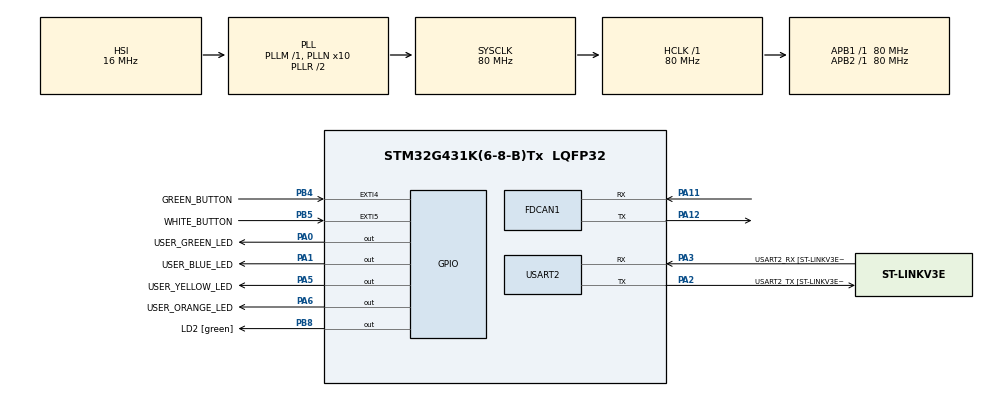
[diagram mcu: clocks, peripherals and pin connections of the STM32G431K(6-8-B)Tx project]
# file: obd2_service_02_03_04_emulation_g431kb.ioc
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FDCAN1.AutoRetransmission=ENABLE
FDCAN1.CalculateBaudRateNominal=250000
FDCAN1.CalculateTimeBitNominal=4000
FDCAN1.CalculateTimeQuantumNominal=250.0
FDCAN1.DataPrescaler=20
FDCAN1.DataSyncJumpWidth=3
FDCAN1.DataTimeSeg1=12
FDCAN1.DataTimeSeg2=3
FDCAN1.NominalPrescaler=20
FDCAN1.NominalSyncJumpWidth=3
FDCAN1.NominalTimeSeg1=12
FDCAN1.NominalTimeSeg2=3
FDCAN1.StdFiltersNbr=2
Mcu.Family=STM32G4
Mcu.Name=STM32G431K(6-8-B)Tx
Mcu.Package=LQFP32
NVIC.EXTI4_IRQn=true\:0\:0\:false\:false\:true\:true\:true\:true
NVIC.EXTI9_5_IRQn=true\:0\:0\:false\:false\:true\:true\:true\:true
NVIC.FDCAN1_IT0_IRQn=true\:0\:0\:false\:false\:true\:true\:true\:true
NVIC.PriorityGroup=NVIC_PRIORITYGROUP_4
PA0.GPIO_Label=USER_GREEN_LED
PA0.Signal=GPIO_Output
PA1.GPIO_Label=USER_BLUE_LED
PA1.Signal=GPIO_Output
PA11.Mode=FDCAN_Activate
PA11.Signal=FDCAN1_RX
PA12.Mode=FDCAN_Activate
PA12.Signal=FDCAN1_TX
PA13.GPIO_Label=T_SWDIO
PA13.Mode=Serial_Wire
PA13.Signal=SYS_JTMS-SWDIO
PA14.GPIO_Label=T_SWCLK
PA14.Mode=Serial_Wire
PA14.Signal=SYS_JTCK-SWCLK
PA2.GPIO_Label=USART2_TX [ST-LINKV3E_VCP_RX]
PA2.Mode=Asynchronous
PA2.Signal=USART2_TX
PA3.GPIO_Label=USART2_RX [ST-LINKV3E_VCP_TX]
PA3.Mode=Asynchronous
PA3.Signal=USART2_RX
PA5.GPIO_Label=USER_YELLOW_LED
PA5.Signal=GPIO_Output
PA6.GPIO_Label=USER_ORANGE_LED
PA6.Signal=GPIO_Output
PB3.GPIO_Label=T_SWO
PB3.Signal=SYS_JTDO-SWO
PB4.GPIO_Label=GREEN_BUTTON
PB4.GPIO_ModeDefaultEXTI=GPIO_MODE_IT_FALLING
PB4.GPIO_PuPd=GPIO_PULLUP
PB4.Signal=GPXTI4
PB5.GPIO_Label=WHITE_BUTTON
PB5.GPIO_ModeDefaultEXTI=GPIO_MODE_IT_FALLING
PB5.GPIO_PuPd=GPIO_PULLUP
PB5.Signal=GPXTI5
PB8-BOOT0.GPIO_Label=LD2 [green]
PB8-BOOT0.Signal=GPIO_Output
ProjectManager.HeapSize=0x200
ProjectManager.StackSize=0x400
ProjectManager.TargetToolchain=STM32CubeIDE
RCC.ADC12Freq_Value=80000000
RCC.AHBFreq_Value=80000000
RCC.APB1Freq_Value=80000000
RCC.APB1TimFreq_Value=80000000
RCC.APB2Freq_Value=80000000
RCC.APB2TimFreq_Value=80000000
RCC.CortexFreq_Value=80000000
RCC.EXTERNAL_CLOCK_VALUE=12288000
RCC.HCLKFreq_Value=80000000
RCC.HSE_VALUE=8000000
RCC.HSI48_VALUE=48000000
RCC.HSI_VALUE=16000000
RCC.LSE_VALUE=32768
RCC.PLLN=10
RCC.SYSCLKFreq_VALUE=80000000
RCC.SYSCLKSource=RCC_SYSCLKSOURCE_PLLCLK
RCC.USBFreq_Value=80000000
RCC.VCOOutputFreq_Value=160000000
USART2.VirtualMode-Asynchronous=VM_ASYNC
USART2.WordLength=WORDLENGTH_8B
VP_SYS_VS_DBSignals.Mode=DisableDeadBatterySignals
board=NUCLEO-G431KB

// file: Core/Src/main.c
/* USER CODE BEGIN Header */
/**
 ******************************************************************************
 * @file           : main.c
 * @brief          : Main program body
 ******************************************************************************
 * @attention
 *
 * Copyright (c) 2025 STMicroelectronics.
 * All rights reserved.
 *
 * This software is licensed under terms that can be found in the LICENSE file
 * in the root directory of this software component.
 * If no LICENSE file comes with this software, it is provided AS-IS.
 *
 ******************************************************************************
 */
/* USER CODE END Header */
#include "main.h"
#include "fdcan.h"
#include "usart.h"
#include "gpio.h"

/* USER CODE BEGIN Includes */
#include "string.h"
/* USER CODE END Includes */

/* USER CODE BEGIN PD */
#define RPM 6666.0f
#define MAF 66.66f
#define ECT 66.0f
#define RPM_FREEZE 7777.0f
#define MAF_FREEZE 77.77f
#define ECT_FREEZE 77.0f
/* USER CODE END PD */

/* USER CODE BEGIN PV */
FDCAN_RxHeaderTypeDef rxHeader;
uint8_t rxData[8];
uint8_t canDatacheck = 0;

FDCAN_TxHeaderTypeDef txHeader;
uint8_t txData[8];

uint8_t pids_supported_01_20_service_01[8] =
{ 0x06, 0x41, 0x00, 0xC8, 0x11, 0x00, 0x00, 0xAA }; // Monitor status, DTC that caused freeze frame, ECT, RPM, MAF

// https://x-engineer.org/obd-diagnostic-service-mode-02-request-powertrain-freeze-frame-data/
uint8_t pids_supported_01_20_service_02[8] =
{ 0x07, 0x42, 0x00, 0x00, 0x48, 0x11, 0x00, 0x00 }; // DTC that caused freeze frame, ECT, RPM, MAF

uint32_t frame_separation_time = 0;

uint8_t malfunction_indicator_light = 1;

float rpm = RPM;
float ect = ECT;
float maf = MAF;
float rpm_freeze = RPM_FREEZE;
float ect_freeze = ECT_FREEZE;
float maf_freeze = MAF_FREEZE;
/* USER CODE END PV */

void SystemClock_Config(void);
/* USER CODE BEGIN PFP */
void SendCanFrame(void);
void Dec2HexTwoBytes(uint16_t dec_value, uint8_t *msb_value, uint8_t *lsb_value);
/* USER CODE END PFP */

int main(void)
{

  /* MCU Configuration--------------------------------------------------------*/

  /* Reset of all peripherals, Initializes the Flash interface and the Systick. */
  HAL_Init();

  /* Configure the system clock */
  SystemClock_Config();

  /* Initialize all configured peripherals */
  MX_GPIO_Init();
  MX_USART2_UART_Init();
  MX_FDCAN1_Init();
  /* USER CODE BEGIN 2 */
	if (HAL_FDCAN_Start(&hfdcan1) != HAL_OK)
	{
		Error_Handler();
	}

	if (HAL_FDCAN_ActivateNotification(&hfdcan1, FDCAN_IT_RX_FIFO0_NEW_MESSAGE,
			0) != HAL_OK)
	{
		Error_Handler();
	}

	txHeader.IdType = FDCAN_STANDARD_ID;
	txHeader.TxFrameType = FDCAN_DATA_FRAME;
	txHeader.DataLength = FDCAN_DLC_BYTES_8;
	txHeader.ErrorStateIndicator = FDCAN_ESI_ACTIVE;
	txHeader.BitRateSwitch = FDCAN_BRS_OFF;
	txHeader.FDFormat = FDCAN_CLASSIC_CAN;
	txHeader.TxEventFifoControl = FDCAN_NO_TX_EVENTS;
  /* USER CODE END 2 */

  /* Infinite loop */
  /* USER CODE BEGIN WHILE */
	while (1)
	{

		if (canDatacheck == 1)
		{
			canDatacheck = 0;
			/************************************************************************
			 *							Service 01									*
			 ************************************************************************/
			// Service 01 supported PIDs
			if ((rxHeader.Identifier == 0x7DF) && (rxData[0] == 0x02)
					&& (rxData[1] == 0x01) && (rxData[2] == 0x00))
			{
				txHeader.Identifier = 0x7E8;
				memcpy(txData, pids_supported_01_20_service_01, 8);
				SendCanFrame();
				HAL_GPIO_TogglePin(USER_BLUE_LED_GPIO_Port, USER_BLUE_LED_Pin);
			}
			// Service 01 PID 0x01: Monitor status since DTCs cleared
			else if ((rxHeader.Identifier == 0x7DF) && (rxData[0] == 0x02)
					&& (rxData[1] == 0x01) && (rxData[2] == 0x01))
			{
				txHeader.Identifier = 0x7E8;
				txData[0] = 0x06;
				txData[1] = 0x41;
				txData[2] = 0x01;
				txData[3] = 0x84; // MIL on, 4 DTCs
				txData[4] = 0x08; // Engine type: compression ignition (e.g. Diesel engines)
				txData[5] = 0x00;
				txData[6] = 0x00;
				txData[7] = 0xAA; // padding bytes
				SendCanFrame();
				HAL_GPIO_TogglePin(USER_GREEN_LED_GPIO_Port,
				USER_GREEN_LED_Pin);
			}
			// Service 01 PID 0x02: DTC that caused freeze frame to be stored
			else if ((rxHeader.Identifier == 0x7DF) && (rxData[0] == 0x02)
					&& (rxData[1] == 0x01) && (rxData[2] == 0x02))
			{
				txHeader.Identifier = 0x7E8;
				txData[0] = 0x04;
				txData[1] = 0x41;
				txData[2] = 0x02;
				txData[3] = 0x00 | 0x01;
				txData[4] = 0x13;
				txData[5] = 0xAA; // padding bytes
				txData[6] = 0xAA;
				txData[7] = 0xAA;
				SendCanFrame();
				HAL_GPIO_TogglePin(USER_GREEN_LED_GPIO_Port,
				USER_GREEN_LED_Pin);
			}
			// Service 01: stream RPM
			else if ((rxHeader.Identifier == 0x7DF) && (rxData[0] == 0x02)
					&& (rxData[1] == 0x01) && (rxData[2] == 0x0C))
			{
				txHeader.Identifier = 0x7E8;
				txData[0] = 0x04;
				txData[1] = 0x41;
				txData[2] = 0x0C;
				Dec2HexTwoBytes((uint16_t) (rpm * 4.0f), &txData[3],
						&txData[4]);
				txData[5] = 0xAA;
				txData[6] = 0xAA;
				txData[7] = 0xAA;
				SendCanFrame();
				HAL_GPIO_TogglePin(USER_YELLOW_LED_GPIO_Port,
				USER_YELLOW_LED_Pin);
			}
			// Service 01: stream ECT
			else if ((rxHeader.Identifier == 0x7DF) && (rxData[0] == 0x02)
					&& (rxData[1] == 0x01) && (rxData[2] == 0x05))
			{
				txHeader.Identifier = 0x7E8;
				txData[0] = 0x03;
				txData[1] = 0x41;
				txData[2] = 0x05;
				txData[3] = (uint8_t) (ect + 40);
				txData[4] = 0xAA;
				txData[5] = 0xAA;
				txData[6] = 0xAA;
				txData[7] = 0xAA;
				SendCanFrame();
				HAL_GPIO_TogglePin(USER_YELLOW_LED_GPIO_Port,
				USER_YELLOW_LED_Pin);
			}
			// Service 01: stream MAF
			else if ((rxHeader.Identifier == 0x7DF) && (rxData[0] == 0x02)
					&& (rxData[1] == 0x01) && (rxData[2] == 0x10))
			{
				txHeader.Identifier = 0x7E8;
				txData[0] = 0x04;
				txData[1] = 0x41;
				txData[2] = 0x10;
				Dec2HexTwoBytes((uint16_t) (maf * 100.0f), &txData[3],
						&txData[4]);
				txData[5] = 0xAA;
				txData[6] = 0xAA;
				txData[7] = 0xAA;
				SendCanFrame();
				HAL_GPIO_TogglePin(USER_YELLOW_LED_GPIO_Port,
				USER_YELLOW_LED_Pin);
			}
			/************************************************************************
			 *							Service 02									*
			 ************************************************************************/
			// DTC that caused freeze frame 0x00 to be stored
			else if ((rxHeader.Identifier == 0x7DF) && (rxData[0] == 0x03)
					&& (rxData[1] == 0x02) && (rxData[2] == 0x02)
					&& (rxData[3] == 0x00))
			{
				txHeader.Identifier = 0x7E8;
				txData[0] = 0x05;
				txData[1] = 0x42;
				txData[2] = 0x02;
				txData[3] = 0x00;
				txData[4] = 0x00 | 0x00;
				txData[5] = 0xB7; // P00B7
				txData[6] = 0xAA; // padding bytes
				txData[7] = 0xAA;
				SendCanFrame();
				HAL_GPIO_TogglePin(USER_GREEN_LED_GPIO_Port,
				USER_GREEN_LED_Pin);
			}
			// Service 02 supported PIDs in freeze frame 0x00
			else if ((rxHeader.Identifier == 0x7DF) && (rxData[0] == 0x03)
					&& (rxData[1] == 0x02) && (rxData[2] == 0x00)
					&& (rxData[3] == 0x00)) // Freeze PIDs list
			{
				txHeader.Identifier = 0x7E8;
				memcpy(txData, pids_supported_01_20_service_02, 8);
				SendCanFrame();
				HAL_GPIO_TogglePin(USER_ORANGE_LED_GPIO_Port,
				USER_ORANGE_LED_Pin);
			}
			// Freeze RPM
			else if ((rxHeader.Identifier == 0x7DF) && (rxData[0] == 0x03)
					&& (rxData[1] == 0x02) && (rxData[2] == 0x0C /* PID */)
					&& (rxData[3] == 0x00 /* frame */))
			{
				txHeader.Identifier = 0x7E8;
				txData[0] = 0x05;
				txData[1] = 0x42;
				txData[2] = 0x0C; // PID
				txData[3] = 0x00; // frame
				Dec2HexTwoBytes((uint16_t) (rpm_freeze * 4.0f), &txData[4],
						&txData[5]);
				txData[6] = 0xAA;
				txData[7] = 0xAA;
				SendCanFrame();
				HAL_GPIO_TogglePin(USER_GREEN_LED_GPIO_Port,
				USER_GREEN_LED_Pin);
			}
			// Freeze ECT
			else if ((rxHeader.Identifier == 0x7DF) && (rxData[0] == 0x03)
					&& (rxData[1] == 0x02) && (rxData[2] == 0x05)
					&& (rxData[3] == 0x00))
			{
				txHeader.Identifier = 0x7E8;
				txData[0] = 0x04;
				txData[1] = 0x42;
				txData[2] = 0x05;
				txData[3] = 0x00;
				txData[4] = (uint8_t) (ect_freeze + 40);
				txData[5] = 0xAA;
				txData[6] = 0xAA;
				txData[7] = 0xAA;
				SendCanFrame();
				HAL_GPIO_TogglePin(USER_GREEN_LED_GPIO_Port,
				USER_GREEN_LED_Pin);
			}
			// Freeze MAF
			else if ((rxHeader.Identifier == 0x7DF) && (rxData[0] == 0x03)
					&& (rxData[1] == 0x02) && (rxData[2] == 0x10)
					&& (rxData[3] == 0x00))
			{
				txHeader.Identifier = 0x7E8;
				txData[0] = 0x05;
				txData[1] = 0x42;
				txData[2] = 0x10;
				txData[3] = 0x00;
				Dec2HexTwoBytes((uint16_t) (maf_freeze * 100.0f), &txData[4],
						&txData[5]);
				txData[6] = 0xAA;
				txData[7] = 0xAA;
				SendCanFrame();
				HAL_GPIO_TogglePin(USER_GREEN_LED_GPIO_Port,
				USER_GREEN_LED_Pin);
			}
			/************************************************************************
			 *							Service 03									*
			 ************************************************************************/
			// Exemplary DTCs
			else if ((malfunction_indicator_light == 1)
					&& (rxHeader.Identifier == 0x7DF) && (rxData[0] == 0x01)
					&& (rxData[1] == 0x03))
			{
				txHeader.Identifier = 0x7E8;
				// P00B7, B1927, U0294 and P0601
				// Frame 1
				txData[0] = 0x10; // extended frame
				txData[1] = 0x0A; // payload length
				txData[2] = 0x43;      // response for Service 03
				txData[3] = 0x04; // number of DTCs
				txData[4] = 0x00 | 0x00;   // first DTC
				txData[5] = 0xB7; // P00B7
				txData[6] = 0x80 | 0x19;      // second DTC
				txData[7] = 0x27; // B1927
				SendCanFrame();
				HAL_GPIO_TogglePin(USER_ORANGE_LED_GPIO_Port,
				USER_ORANGE_LED_Pin);
			}
			else if ((malfunction_indicator_light == 1)
					&& (rxHeader.Identifier == 0x7E8 - 0x008)
					&& (rxData[0] == 0x30) && (rxData[1] == 0x00)) // flow control frame
			{
				frame_separation_time = rxData[2]; // ms
				// Frame 2
				txHeader.Identifier = 0x7E8;
				txData[0] = 0x21; // Continuation frame identifier [PCI and seq num]
				txData[1] = 0xC0 | 0x02; // third DTC
				txData[2] = 0x94; // U0294
				txData[3] = 0x00 | 0x06; // fourth DTC
				txData[4] = 0x01; // P0601
				txData[5] = 0xAA; // padding bytes
				txData[6] = 0xAA;
				txData[7] = 0xAA;
				HAL_Delay(frame_separation_time);
				SendCanFrame();
				HAL_GPIO_TogglePin(USER_ORANGE_LED_GPIO_Port,
				USER_ORANGE_LED_Pin);
			}
			// Service 03 no DTCs
			else if ((malfunction_indicator_light == 0)
					&& (rxHeader.Identifier == 0x7DF) && (rxData[0] == 0x01)
					&& (rxData[1] == 0x03))
			{
				txHeader.Identifier = 0x7E8;
				// No DTC
				txData[0] = 0x02; // Number of additional bytes (including the DTC)
				txData[1] = 0x43; // response for Service 03
				txData[2] = 0x00; // number of DTCs
				txData[3] = 0xAA; // padding bytes
				txData[4] = 0xAA;
				txData[5] = 0xAA;
				txData[6] = 0xAA;
				txData[7] = 0xAA;
				SendCanFrame();
				HAL_GPIO_TogglePin(USER_ORANGE_LED_GPIO_Port,
				USER_ORANGE_LED_Pin);
			}
			/************************************************************************
			 *							Service 04									*
			 ************************************************************************/
			// Service 04: clear all DTCs
			else if ((rxHeader.Identifier == 0x7DF) && (rxData[0] == 0x01)
					&& (rxData[1] == 0x04))
			{
				malfunction_indicator_light = 0;
			}
			else
			{
				__NOP();
			}
		}
    /* USER CODE END WHILE */

	}
}

void SystemClock_Config(void)
{
  RCC_OscInitTypeDef RCC_OscInitStruct = {0};
  RCC_ClkInitTypeDef RCC_ClkInitStruct = {0};

  /** Configure the main internal regulator output voltage
  */
  HAL_PWREx_ControlVoltageScaling(PWR_REGULATOR_VOLTAGE_SCALE1);

  /** Initializes the RCC Oscillators according to the specified parameters
  * in the RCC_OscInitTypeDef structure.
  */
  RCC_OscInitStruct.OscillatorType = RCC_OSCILLATORTYPE_HSI;
  RCC_OscInitStruct.HSIState = RCC_HSI_ON;
  RCC_OscInitStruct.HSICalibrationValue = RCC_HSICALIBRATION_DEFAULT;
  RCC_OscInitStruct.PLL.PLLState = RCC_PLL_ON;
  RCC_OscInitStruct.PLL.PLLSource = RCC_PLLSOURCE_HSI;
  RCC_OscInitStruct.PLL.PLLM = RCC_PLLM_DIV1;
  RCC_OscInitStruct.PLL.PLLN = 10;
  RCC_OscInitStruct.PLL.PLLP = RCC_PLLP_DIV2;
  RCC_OscInitStruct.PLL.PLLQ = RCC_PLLQ_DIV2;
  RCC_OscInitStruct.PLL.PLLR = RCC_PLLR_DIV2;
  if (HAL_RCC_OscConfig(&RCC_OscInitStruct) != HAL_OK)
  {
    Error_Handler();
  }

  /** Initializes the CPU, AHB and APB buses clocks
  */
  RCC_ClkInitStruct.ClockType = RCC_CLOCKTYPE_HCLK|RCC_CLOCKTYPE_SYSCLK
                              |RCC_CLOCKTYPE_PCLK1|RCC_CLOCKTYPE_PCLK2;
  RCC_ClkInitStruct.SYSCLKSource = RCC_SYSCLKSOURCE_PLLCLK;
  RCC_ClkInitStruct.AHBCLKDivider = RCC_SYSCLK_DIV1;
  RCC_ClkInitStruct.APB1CLKDivider = RCC_HCLK_DIV1;
  RCC_ClkInitStruct.APB2CLKDivider = RCC_HCLK_DIV1;

  if (HAL_RCC_ClockConfig(&RCC_ClkInitStruct, FLASH_LATENCY_2) != HAL_OK)
  {
    Error_Handler();
  }
}

/* USER CODE BEGIN 4 */
void HAL_FDCAN_RxFifo0Callback(FDCAN_HandleTypeDef *hfdcan, uint32_t RxFifo0ITs)
{
	if ((RxFifo0ITs & FDCAN_IT_RX_FIFO0_NEW_MESSAGE) != RESET)
	{

		memset(rxData, 0x00, 8);
		if (HAL_FDCAN_GetRxMessage(hfdcan, FDCAN_RX_FIFO0, &rxHeader, rxData)
				!= HAL_OK)
		{
			Error_Handler();
		}
		else
		{
			canDatacheck = 1;
		}
	}
}

void SendCanFrame(void)
{
	if (HAL_FDCAN_AddMessageToTxFifoQ(&hfdcan1, &txHeader, txData) != HAL_OK)
	{
		Error_Handler();
	}
}

void Dec2HexTwoBytes(uint16_t dec_value, uint8_t *msb_value, uint8_t *lsb_value)
{
	*lsb_value = dec_value & 0x00FF;
	*msb_value = dec_value >> 8;
}
/* USER CODE END 4 */

void Error_Handler(void)
{
	__disable_irq();
	while (1)
	{
	}
}
